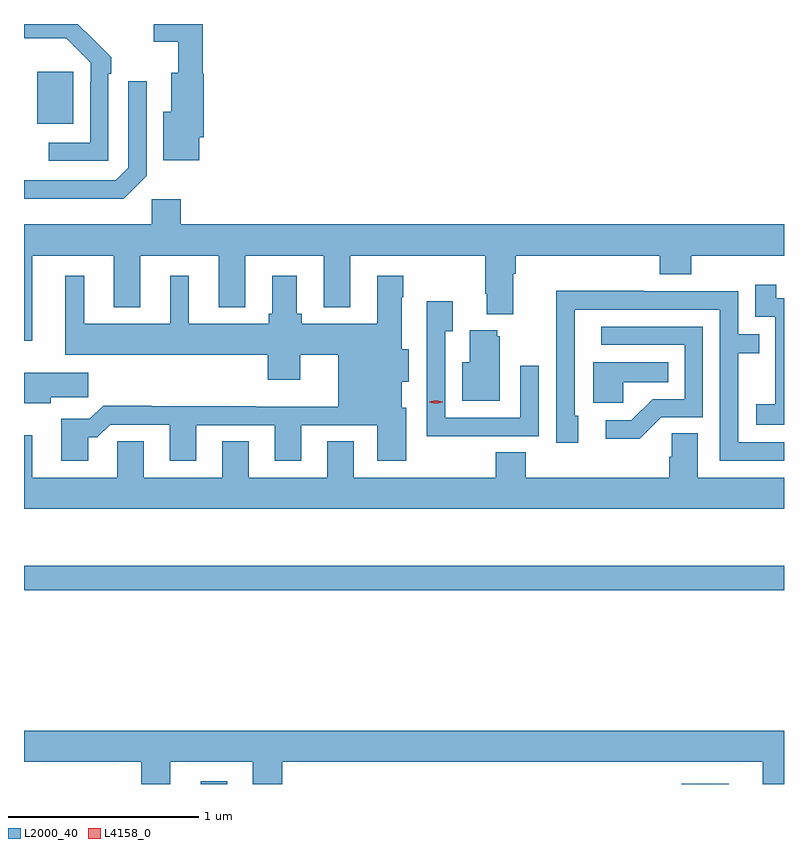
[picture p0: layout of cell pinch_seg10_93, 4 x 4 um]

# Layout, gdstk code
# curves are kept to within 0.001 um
import gdstk
lib = gdstk.Library(unit=1e-6, precision=1e-09)
def R(c, l, rs):  # rectangles x0, y0, x1, y1
    for r in rs: c.add(gdstk.rectangle(r[:2], r[2:], *l))
def P(c, l, *ps):  # polygons
    for p in ps: c.add(gdstk.Polygon(p, *l))
L2000_40 = (2000, 40)
L4158_0 = (4158, 0)

pinch_seg10_93 = lib.new_cell('pinch_seg10_93')
R(pinch_seg10_93, L2000_40, [(720.275,1302.863,720.415,1302.877), (722.804,1302.863,723.055,1302.865), (719.346,1303.882,723.346,1304.011), (719.417,1306.337,719.605,1306.612)])
P(pinch_seg10_93, L2000_40, [(719.79,1306.601),(719.805,1306.601),(719.805,1306.689),(719.629,1306.863),(719.346,1306.863),(719.346,1306.788),(719.569,1306.788),(719.697,1306.659),(719.697,1306.559),(719.694,1306.559),(719.694,1306.239),(719.475,1306.239),(719.475,1306.143),(719.79,1306.143)],
  [(720.268,1306.266),(720.293,1306.266),(720.293,1306.602),(720.287,1306.602),(720.287,1306.863),(720.03,1306.863),(720.03,1306.769),(720.159,1306.769),(720.159,1306.606),(720.122,1306.606),(720.122,1306.402),(720.08,1306.402),(720.08,1306.145),(720.268,1306.145)],
  [(719.991,1306.065),(719.991,1306.561),(719.895,1306.561),(719.895,1306.107),(719.829,1306.041),(719.346,1306.041),(719.346,1305.944),(719.87,1305.944)],
  [(719.389,1305.644),(719.819,1305.644),(719.819,1305.371),(719.959,1305.371),(719.959,1305.644),(720.371,1305.644),(720.371,1305.371),(720.511,1305.371),(720.511,1305.644),(720.923,1305.644),(720.923,1305.371),(721.063,1305.371),(721.063,1305.644),(721.774,1305.644),(721.774,1305.442),(721.781,1305.442),(721.781,1305.335),(721.921,1305.335),(721.921,1305.548),(721.934,1305.548),(721.934,1305.644),(722.693,1305.644),(722.693,1305.545),(722.858,1305.545),(722.858,1305.644),(723.346,1305.644),(723.346,1305.808),(720.17,1305.808),(720.17,1305.94),(720.018,1305.94),(720.018,1305.808),(719.346,1305.808),(719.346,1305.195),(719.389,1305.195)],
  [(719.683,1304.687),(719.732,1304.687),(719.799,1304.754),(720.113,1304.754),(720.113,1304.565),(720.253,1304.565),(720.253,1304.751),(720.665,1304.751),(720.665,1304.565),(720.805,1304.565),(720.805,1304.751),(721.205,1304.751),(721.205,1304.565),(721.357,1304.565),(721.357,1304.844),(721.333,1304.844),(721.333,1304.981),(721.372,1304.981),(721.372,1305.152),(721.333,1305.152),(721.333,1305.425),(721.341,1305.425),(721.341,1305.538),(721.205,1305.538),(721.205,1305.286),(720.807,1305.286),(720.807,1305.339),(720.781,1305.339),(720.781,1305.538),(720.653,1305.538),(720.653,1305.339),(720.634,1305.339),(720.634,1305.286),(720.214,1305.286),(720.214,1305.538),(720.116,1305.538),(720.116,1305.286),(719.662,1305.286),(719.662,1305.538),(719.564,1305.538),(719.564,1305.122),(720.629,1305.122),(720.629,1304.991),(720.799,1304.991),(720.799,1305.122),(721.001,1305.122),(721.001,1304.848),(720.569,1304.848),(720.569,1304.852),(720.017,1304.852),(720.017,1304.855),(719.762,1304.855),(719.692,1304.785),(719.543,1304.785),(719.543,1304.565),(719.683,1304.565)],
  [(723.346,1305.42),(723.304,1305.42),(723.304,1305.49),(723.195,1305.49),(723.195,1305.321),(723.3,1305.321),(723.3,1305.092),(723.299,1305.092),(723.299,1304.863),(723.201,1304.863),(723.201,1304.753),(723.346,1304.753)],
  [(723.346,1304.661),(723.105,1304.661),(723.105,1305.13),(723.215,1305.13),(723.215,1305.231),(723.105,1305.231),(723.105,1305.456),(722.609,1305.456),(722.609,1305.458),(722.146,1305.458),(722.146,1305.151),(722.148,1305.151),(722.148,1304.658),(722.263,1304.658),(722.263,1304.802),(722.244,1304.802),(722.244,1305.106),(722.245,1305.106),(722.245,1305.36),(723.009,1305.36),(723.009,1304.565),(723.346,1304.565)],
  [(721.739,1304.694),(722.055,1304.694),(722.055,1305.064),(721.959,1305.064),(721.959,1304.79),(721.563,1304.79),(721.563,1305.247),(721.603,1305.247),(721.603,1305.403),(721.467,1305.403),(721.467,1304.693),(721.739,1304.693)],
  [(722.7,1304.793),(722.919,1304.793),(722.919,1305.27),(722.385,1305.27),(722.385,1305.174),(722.823,1305.174),(722.823,1304.889),(722.654,1304.889),(722.543,1304.778),(722.409,1304.778),(722.409,1304.681),(722.587,1304.681)],
  [(721.849,1305.219),(721.838,1305.219),(721.838,1305.25),(721.691,1305.25),(721.691,1305.082),(721.652,1305.082),(721.652,1304.879),(721.849,1304.879)],
  [(722.499,1304.978),(722.738,1304.978),(722.738,1305.082),(722.342,1305.082),(722.342,1304.87),(722.499,1304.87)],
  [(719.488,1304.899),(719.683,1304.899),(719.683,1305.028),(719.346,1305.028),(719.346,1304.867),(719.488,1304.867)],
  [(723.346,1304.476),(722.893,1304.476),(722.893,1304.708),(722.754,1304.708),(722.754,1304.585),(722.741,1304.585),(722.741,1304.476),(721.988,1304.476),(721.988,1304.609),(721.828,1304.609),(721.828,1304.476),(721.081,1304.476),(721.081,1304.666),(720.941,1304.666),(720.941,1304.476),(720.529,1304.476),(720.529,1304.666),(720.389,1304.666),(720.389,1304.476),(719.977,1304.476),(719.977,1304.666),(719.838,1304.666),(719.838,1304.476),(719.389,1304.476),(719.389,1304.698),(719.346,1304.698),(719.346,1304.312),(723.346,1304.312)],
  [(720.115,1302.98),(720.551,1302.98),(720.551,1302.863),(720.704,1302.863),(720.704,1302.98),(723.233,1302.98),(723.233,1302.863),(723.346,1302.863),(723.346,1303.144),(719.346,1303.144),(719.346,1302.98),(719.963,1302.98),(719.963,1302.863),(720.115,1302.863)])
P(pinch_seg10_93, L4158_0, [(721.514,1304.864),(721.478,1304.873),(721.478,1304.874),(721.478,1304.874),(721.514,1304.884),(721.55,1304.874),(721.55,1304.874),(721.55,1304.873)])

lib.write_gds('pinch_seg10_93.gds')
